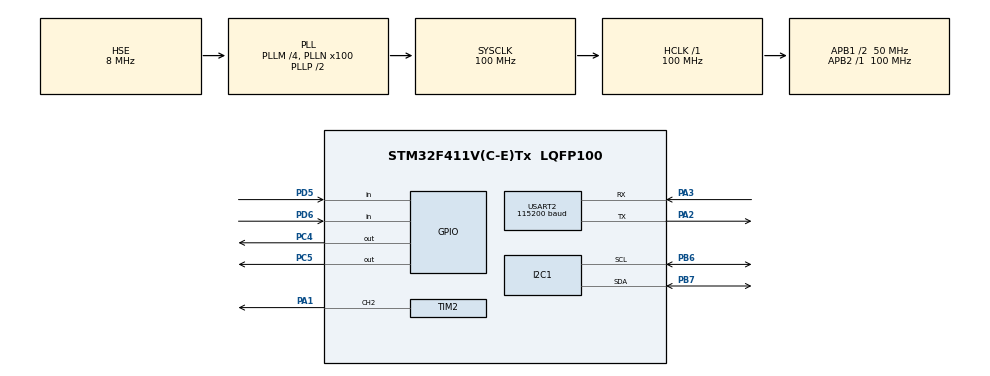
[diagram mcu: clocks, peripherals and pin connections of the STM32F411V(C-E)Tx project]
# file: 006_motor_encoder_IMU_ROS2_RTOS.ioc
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Dma.Request0=USART2_RX
Dma.Request1=USART2_TX
Dma.USART2_RX.0.Direction=DMA_PERIPH_TO_MEMORY
Dma.USART2_RX.0.FIFOMode=DMA_FIFOMODE_DISABLE
Dma.USART2_RX.0.Instance=DMA1_Stream5
Dma.USART2_RX.0.MemDataAlignment=DMA_MDATAALIGN_BYTE
Dma.USART2_RX.0.MemInc=DMA_MINC_ENABLE
Dma.USART2_RX.0.Mode=DMA_NORMAL
Dma.USART2_RX.0.PeriphDataAlignment=DMA_PDATAALIGN_BYTE
Dma.USART2_RX.0.PeriphInc=DMA_PINC_DISABLE
Dma.USART2_RX.0.Priority=DMA_PRIORITY_VERY_HIGH
Dma.USART2_TX.1.Direction=DMA_MEMORY_TO_PERIPH
Dma.USART2_TX.1.FIFOMode=DMA_FIFOMODE_DISABLE
Dma.USART2_TX.1.Instance=DMA1_Stream6
Dma.USART2_TX.1.MemDataAlignment=DMA_MDATAALIGN_BYTE
Dma.USART2_TX.1.MemInc=DMA_MINC_ENABLE
Dma.USART2_TX.1.Mode=DMA_NORMAL
Dma.USART2_TX.1.PeriphDataAlignment=DMA_PDATAALIGN_BYTE
Dma.USART2_TX.1.PeriphInc=DMA_PINC_DISABLE
Dma.USART2_TX.1.Priority=DMA_PRIORITY_VERY_HIGH
FREERTOS.Tasks01=mainTask,24,3000,main_task,Default,NULL,Dynamic,NULL,NULL
Mcu.Family=STM32F4
Mcu.Name=STM32F411V(C-E)Tx
Mcu.Package=LQFP100
NVIC.DMA1_Stream5_IRQn=true\:5\:0\:false\:false\:true\:true\:false\:true\:true
NVIC.DMA1_Stream6_IRQn=true\:5\:0\:false\:false\:true\:true\:false\:true\:true
NVIC.PriorityGroup=NVIC_PRIORITYGROUP_4
NVIC.USART2_IRQn=true\:5\:0\:false\:false\:true\:true\:true\:true\:true
PA1.Signal=S_TIM2_CH2
PA2.Mode=Asynchronous
PA2.Signal=USART2_TX
PA3.Mode=Asynchronous
PA3.Signal=USART2_RX
PB6.Mode=I2C
PB6.Signal=I2C1_SCL
PB7.Mode=I2C
PB7.Signal=I2C1_SDA
PC4.Signal=GPIO_Output
PC5.Signal=GPIO_Output
PD5.Signal=GPIO_Input
PD6.Signal=GPIO_Input
PH0\ -\ OSC_IN.Mode=HSE-External-Oscillator
PH0\ -\ OSC_IN.Signal=RCC_OSC_IN
PH1\ -\ OSC_OUT.Mode=HSE-External-Oscillator
PH1\ -\ OSC_OUT.Signal=RCC_OSC_OUT
ProjectManager.HeapSize=0x200
ProjectManager.StackSize=0x400
ProjectManager.TargetToolchain=STM32CubeIDE
RCC.48MHZClocksFreq_Value=50000000
RCC.AHBFreq_Value=100000000
RCC.APB1CLKDivider=RCC_HCLK_DIV2
RCC.APB1Freq_Value=50000000
RCC.APB1TimFreq_Value=100000000
RCC.APB2Freq_Value=100000000
RCC.APB2TimFreq_Value=100000000
RCC.CortexFreq_Value=100000000
RCC.HCLKFreq_Value=100000000
RCC.HSE_VALUE=8000000
RCC.HSI_VALUE=16000000
RCC.LSE_VALUE=32768
RCC.PLLM=4
RCC.PLLN=100
RCC.PLLSourceVirtual=RCC_PLLSOURCE_HSE
RCC.SYSCLKFreq_VALUE=100000000
RCC.SYSCLKSource=RCC_SYSCLKSOURCE_PLLCLK
RCC.VCOOutputFreq_Value=200000000
SH.S_TIM2_CH2.0=TIM2_CH2,PWM Generation2 CH2
TIM2.Channel-PWM\ Generation2\ CH2=TIM_CHANNEL_2
TIM2.Period=1023
TIM2.Prescaler=200
USART2.BaudRate=115200
USART2.VirtualMode=VM_ASYNC
VP_FREERTOS_VS_CMSIS_V2.Mode=CMSIS_V2
VP_TIM2_VS_ClockSourceINT.Mode=Internal
board=custom

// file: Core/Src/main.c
/* USER CODE BEGIN Header */
/**
 ******************************************************************************
 * @file           : main.c
 * @brief          : Main program body
 ******************************************************************************
 * @attention
 *
 * Copyright (c) 2023 STMicroelectronics.
 * All rights reserved.
 *
 * This software is licensed under terms that can be found in the LICENSE file
 * in the root directory of this software component.
 * If no LICENSE file comes with this software, it is provided AS-IS.
 *
 ******************************************************************************
 */
/* USER CODE END Header */
#include "main.h"
#include "cmsis_os.h"

/* USER CODE BEGIN Includes */
#include <rcl/rcl.h>
#include <rcl/error_handling.h>
#include <rclc/rclc.h>
#include <rclc/executor.h>
#include <uxr/client/transport.h>
#include <rmw_microxrcedds_c/config.h>
#include <rmw_microros/rmw_microros.h>

#include <std_msgs/msg/int32.h>
#include <std_msgs/msg/float32.h>

#include "mpu6050.h"
/* USER CODE END Includes */

/* USER CODE BEGIN PTD */
typedef struct {
	int encoderPosCount;
	int pinALast;
	int aVal;
	bool bCW;
} EncoderData;

EncoderData encoderData;
/* USER CODE END PTD */

I2C_HandleTypeDef hi2c1;

TIM_HandleTypeDef htim2;

UART_HandleTypeDef huart2;
DMA_HandleTypeDef hdma_usart2_rx;
DMA_HandleTypeDef hdma_usart2_tx;

/* Definitions for mainTask */
osThreadId_t mainTaskHandle;
const osThreadAttr_t mainTask_attributes = { .name = "mainTask", .stack_size =
		3000 * 4, .priority = (osPriority_t) osPriorityNormal, };

void SystemClock_Config(void);
static void MX_GPIO_Init(void);
static void MX_DMA_Init(void);
static void MX_USART2_UART_Init(void);
static void MX_I2C1_Init(void);
static void MX_TIM2_Init(void);
void main_task(void *argument);
void subscription_callback(const void *msgin);
void get_encoder_val(EncoderData *encoderData);
void init_encoder(EncoderData *encoderData);
void init_motor(void);
/* USER CODE BEGIN PFP */

bool cubemx_transport_open(struct uxrCustomTransport *transport);
bool cubemx_transport_close(struct uxrCustomTransport *transport);
size_t cubemx_transport_write(struct uxrCustomTransport *transport,
		const uint8_t *buf, size_t len, uint8_t *err);
size_t cubemx_transport_read(struct uxrCustomTransport *transport, uint8_t *buf,
		size_t len, int timeout, uint8_t *err);

void* microros_allocate(size_t size, void *state);
void microros_deallocate(void *pointer, void *state);
void* microros_reallocate(void *pointer, size_t size, void *state);
void* microros_zero_allocate(size_t number_of_elements, size_t size_of_element,
		void *state);
void subscription_callback(const void *msgin) {
	// Cast received message to used type
	const std_msgs__msg__Int32 *msg = (const std_msgs__msg__Int32*) msgin;
	int speed = 1023;
	int val = msg->data;

	 if (val == 0) {
	 HAL_GPIO_WritePin(GPIOC, GPIO_PIN_4, 0);
	 HAL_GPIO_WritePin(GPIOC, GPIO_PIN_5, 1);
	 __HAL_TIM_SET_COMPARE(&htim2, TIM_CHANNEL_2, speed);

	 } else if (val == 1) {
	 HAL_GPIO_WritePin(GPIOC, GPIO_PIN_4, 0);
	 HAL_GPIO_WritePin(GPIOC, GPIO_PIN_5, 1);
	 __HAL_TIM_SET_COMPARE(&htim2, TIM_CHANNEL_2, speed);

	 } else if (val == 2) {
	 HAL_GPIO_WritePin(GPIOC, GPIO_PIN_4, 0);
	 HAL_GPIO_WritePin(GPIOC, GPIO_PIN_5, 0);
	 __HAL_TIM_SET_COMPARE(&htim2, TIM_CHANNEL_2, 0);

	 }

}
void init_encoder(EncoderData *encoderData) {
	encoderData->pinALast = HAL_GPIO_ReadPin(GPIOD, GPIO_PIN_5);
	encoderData->encoderPosCount = 0;
}
void get_encoder_val(EncoderData *encoderData) {

	encoderData->aVal = HAL_GPIO_ReadPin(GPIOD, GPIO_PIN_5);

	if (encoderData->aVal != encoderData->pinALast) {
		if (HAL_GPIO_ReadPin(GPIOD, GPIO_PIN_6) != encoderData->aVal) {
			encoderData->encoderPosCount++;
			encoderData->bCW = true;
		} else {
			encoderData->bCW = false;
			encoderData->encoderPosCount--;
		}
		encoderData->pinALast = encoderData->aVal;
	}
}
void init_motor(void) {
	HAL_TIM_PWM_Start(&htim2, TIM_CHANNEL_2);
	// Prescaler = (Saat Hızı) x (İstenen Zaman Dilimi) / (1,000,000)
	// Prescaler = (100,000,000) x (2000) / (1,000,000) = 200
	HAL_GPIO_WritePin(GPIOC, GPIO_PIN_4, 0);
	HAL_GPIO_WritePin(GPIOC, GPIO_PIN_5, 0);
}
/* USER CODE END PFP */

int main(void) {

	/* MCU Configuration--------------------------------------------------------*/

	/* Reset of all peripherals, Initializes the Flash interface and the Systick. */
	HAL_Init();

	/* Configure the system clock */
	SystemClock_Config();

	/* Initialize all configured peripherals */
	MX_GPIO_Init();
	MX_DMA_Init();
	MX_USART2_UART_Init();
	MX_I2C1_Init();
	MX_TIM2_Init();
	/* USER CODE BEGIN 2 */
	/* Initialize the ROS node */

	/* USER CODE END 2 */

	/* Init scheduler */
	osKernelInitialize();

	/* Create the thread(s) */
	/* creation of mainTask */
	mainTaskHandle = osThreadNew(main_task, NULL, &mainTask_attributes);

	/* Start scheduler */
	osKernelStart();

	/* We should never get here as control is now taken by the scheduler */
	/* Infinite loop */
	while (1) {

	}
}

void SystemClock_Config(void) {
	RCC_OscInitTypeDef RCC_OscInitStruct = { 0 };
	RCC_ClkInitTypeDef RCC_ClkInitStruct = { 0 };

	/** Configure the main internal regulator output voltage
	 */
	__HAL_RCC_PWR_CLK_ENABLE();
	__HAL_PWR_VOLTAGESCALING_CONFIG(PWR_REGULATOR_VOLTAGE_SCALE1);

	/** Initializes the RCC Oscillators according to the specified parameters
	 * in the RCC_OscInitTypeDef structure.
	 */
	RCC_OscInitStruct.OscillatorType = RCC_OSCILLATORTYPE_HSE;
	RCC_OscInitStruct.HSEState = RCC_HSE_ON;
	RCC_OscInitStruct.PLL.PLLState = RCC_PLL_ON;
	RCC_OscInitStruct.PLL.PLLSource = RCC_PLLSOURCE_HSE;
	RCC_OscInitStruct.PLL.PLLM = 4;
	RCC_OscInitStruct.PLL.PLLN = 100;
	RCC_OscInitStruct.PLL.PLLP = RCC_PLLP_DIV2;
	RCC_OscInitStruct.PLL.PLLQ = 4;
	if (HAL_RCC_OscConfig(&RCC_OscInitStruct) != HAL_OK) {
		Error_Handler();
	}

	/** Initializes the CPU, AHB and APB buses clocks
	 */
	RCC_ClkInitStruct.ClockType = RCC_CLOCKTYPE_HCLK | RCC_CLOCKTYPE_SYSCLK
			| RCC_CLOCKTYPE_PCLK1 | RCC_CLOCKTYPE_PCLK2;
	RCC_ClkInitStruct.SYSCLKSource = RCC_SYSCLKSOURCE_PLLCLK;
	RCC_ClkInitStruct.AHBCLKDivider = RCC_SYSCLK_DIV1;
	RCC_ClkInitStruct.APB1CLKDivider = RCC_HCLK_DIV2;
	RCC_ClkInitStruct.APB2CLKDivider = RCC_HCLK_DIV1;

	if (HAL_RCC_ClockConfig(&RCC_ClkInitStruct, FLASH_LATENCY_3) != HAL_OK) {
		Error_Handler();
	}
}

static void MX_I2C1_Init(void) {

	hi2c1.Instance = I2C1;
	hi2c1.Init.ClockSpeed = 100000;
	hi2c1.Init.DutyCycle = I2C_DUTYCYCLE_2;
	hi2c1.Init.OwnAddress1 = 0;
	hi2c1.Init.AddressingMode = I2C_ADDRESSINGMODE_7BIT;
	hi2c1.Init.DualAddressMode = I2C_DUALADDRESS_DISABLE;
	hi2c1.Init.OwnAddress2 = 0;
	hi2c1.Init.GeneralCallMode = I2C_GENERALCALL_DISABLE;
	hi2c1.Init.NoStretchMode = I2C_NOSTRETCH_DISABLE;
	if (HAL_I2C_Init(&hi2c1) != HAL_OK) {
		Error_Handler();
	}

}

static void MX_TIM2_Init(void) {

	TIM_ClockConfigTypeDef sClockSourceConfig = { 0 };
	TIM_MasterConfigTypeDef sMasterConfig = { 0 };
	TIM_OC_InitTypeDef sConfigOC = { 0 };

	htim2.Instance = TIM2;
	htim2.Init.Prescaler = 200;
	htim2.Init.CounterMode = TIM_COUNTERMODE_UP;
	htim2.Init.Period = 1023;
	htim2.Init.ClockDivision = TIM_CLOCKDIVISION_DIV1;
	htim2.Init.AutoReloadPreload = TIM_AUTORELOAD_PRELOAD_DISABLE;
	if (HAL_TIM_Base_Init(&htim2) != HAL_OK) {
		Error_Handler();
	}
	sClockSourceConfig.ClockSource = TIM_CLOCKSOURCE_INTERNAL;
	if (HAL_TIM_ConfigClockSource(&htim2, &sClockSourceConfig) != HAL_OK) {
		Error_Handler();
	}
	if (HAL_TIM_PWM_Init(&htim2) != HAL_OK) {
		Error_Handler();
	}
	sMasterConfig.MasterOutputTrigger = TIM_TRGO_RESET;
	sMasterConfig.MasterSlaveMode = TIM_MASTERSLAVEMODE_DISABLE;
	if (HAL_TIMEx_MasterConfigSynchronization(&htim2, &sMasterConfig)
			!= HAL_OK) {
		Error_Handler();
	}
	sConfigOC.OCMode = TIM_OCMODE_PWM1;
	sConfigOC.Pulse = 0;
	sConfigOC.OCPolarity = TIM_OCPOLARITY_HIGH;
	sConfigOC.OCFastMode = TIM_OCFAST_DISABLE;
	if (HAL_TIM_PWM_ConfigChannel(&htim2, &sConfigOC, TIM_CHANNEL_2)
			!= HAL_OK) {
		Error_Handler();
	}
	HAL_TIM_MspPostInit(&htim2);

}

static void MX_USART2_UART_Init(void) {

	huart2.Instance = USART2;
	huart2.Init.BaudRate = 115200;
	huart2.Init.WordLength = UART_WORDLENGTH_8B;
	huart2.Init.StopBits = UART_STOPBITS_1;
	huart2.Init.Parity = UART_PARITY_NONE;
	huart2.Init.Mode = UART_MODE_TX_RX;
	huart2.Init.HwFlowCtl = UART_HWCONTROL_NONE;
	huart2.Init.OverSampling = UART_OVERSAMPLING_16;
	if (HAL_UART_Init(&huart2) != HAL_OK) {
		Error_Handler();
	}

}

static void MX_DMA_Init(void) {

	/* DMA controller clock enable */
	__HAL_RCC_DMA1_CLK_ENABLE();

	/* DMA interrupt init */
	/* DMA1_Stream5_IRQn interrupt configuration */
	HAL_NVIC_SetPriority(DMA1_Stream5_IRQn, 5, 0);
	HAL_NVIC_EnableIRQ(DMA1_Stream5_IRQn);
	/* DMA1_Stream6_IRQn interrupt configuration */
	HAL_NVIC_SetPriority(DMA1_Stream6_IRQn, 5, 0);
	HAL_NVIC_EnableIRQ(DMA1_Stream6_IRQn);

}

static void MX_GPIO_Init(void) {
	GPIO_InitTypeDef GPIO_InitStruct = { 0 };

	/* GPIO Ports Clock Enable */
	__HAL_RCC_GPIOH_CLK_ENABLE();
	__HAL_RCC_GPIOA_CLK_ENABLE();
	__HAL_RCC_GPIOC_CLK_ENABLE();
	__HAL_RCC_GPIOD_CLK_ENABLE();
	__HAL_RCC_GPIOB_CLK_ENABLE();

	/*Configure GPIO pin Output Level */
	HAL_GPIO_WritePin(GPIOC, GPIO_PIN_4 | GPIO_PIN_5, GPIO_PIN_RESET);

	/*Configure GPIO pins : PC4 PC5 */
	GPIO_InitStruct.Pin = GPIO_PIN_4 | GPIO_PIN_5;
	GPIO_InitStruct.Mode = GPIO_MODE_OUTPUT_PP;
	GPIO_InitStruct.Pull = GPIO_NOPULL;
	GPIO_InitStruct.Speed = GPIO_SPEED_FREQ_LOW;
	HAL_GPIO_Init(GPIOC, &GPIO_InitStruct);

	/*Configure GPIO pins : PD5 PD6 */
	GPIO_InitStruct.Pin = GPIO_PIN_5 | GPIO_PIN_6;
	GPIO_InitStruct.Mode = GPIO_MODE_INPUT;
	GPIO_InitStruct.Pull = GPIO_NOPULL;
	HAL_GPIO_Init(GPIOD, &GPIO_InitStruct);

}

void main_task(void *argument) {
	/* USER CODE BEGIN 5 */
	/* Infinite loop */
	rmw_uros_set_custom_transport(
	true, (void*) &huart2, cubemx_transport_open, cubemx_transport_close,
			cubemx_transport_write, cubemx_transport_read);

	rcl_allocator_t freeRTOS_allocator =
			rcutils_get_zero_initialized_allocator();
	freeRTOS_allocator.allocate = microros_allocate;
	freeRTOS_allocator.deallocate = microros_deallocate;
	freeRTOS_allocator.reallocate = microros_reallocate;
	freeRTOS_allocator.zero_allocate = microros_zero_allocate;

	if (!rcutils_set_default_allocator(&freeRTOS_allocator)) {
		printf("Error on default allocators (line %d)\n", __LINE__);
	}

	// micro-ROS app

	rclc_support_t support;
	rcl_allocator_t allocator;
	rcl_node_t node;
	rcl_publisher_t encoder_pub;
	std_msgs__msg__Int32 encoder_msg;
	rcl_publisher_t imu_pub;
	std_msgs__msg__Float32 imu_msg;

	allocator = rcl_get_default_allocator();
	//create init_options
	rclc_support_init(&support, 0, NULL, &allocator);

	// create node
	rclc_node_init_default(&node, "cubemx_node", "", &support);

	/////////////////encoder publisher ////////////////

	rclc_publisher_init_best_effort(&encoder_pub, &node,
			ROSIDL_GET_MSG_TYPE_SUPPORT(std_msgs, msg, Int32), "encoder");
	encoder_msg.data = 0;
	//////////////////////////////////////////////////

	/////////////////imu publisher ////////////////

	rclc_publisher_init_best_effort(&imu_pub, &node,
			ROSIDL_GET_MSG_TYPE_SUPPORT(std_msgs, msg, Float32), "imu");
	imu_msg.data = 0;
	///////////////////////////////////////////////

	rcl_subscription_t subscriber;

	rclc_subscription_init_best_effort(&subscriber, &node,
			ROSIDL_GET_MSG_TYPE_SUPPORT(std_msgs, msg, Int32), "motor_control");
	// executor
	rclc_executor_t executor;
	rclc_executor_init(&executor, &support.context, 3, &allocator);
	std_msgs__msg__Int32 msg;

	// Add subscription to the executor
	rclc_executor_add_subscription(&executor, &subscriber, &msg,
			&subscription_callback, ON_NEW_DATA);

	init_encoder(&encoderData);
	MPU6050_t MPU6050;
	while (MPU6050_Init(&hi2c1) == 1)
		;
	init_motor();
	for (;;) {

		get_encoder_val(&encoderData);
		 encoder_msg.data = encoderData.encoderPosCount;

		MPU6050_Read_Gyro(&hi2c1, &MPU6050);
		// for test
		imu_msg.data = MPU6050.Gx;

		rcl_publish(&encoder_pub, &encoder_msg, NULL);
		rcl_publish(&imu_pub, &imu_msg, &allocator);

		rclc_executor_spin_some(&executor, RCL_MS_TO_NS(10));
		osDelay(1);
	}
	/* USER CODE END 5 */
}

void Error_Handler(void) {
	__disable_irq();
	while (1) {
	}
}
